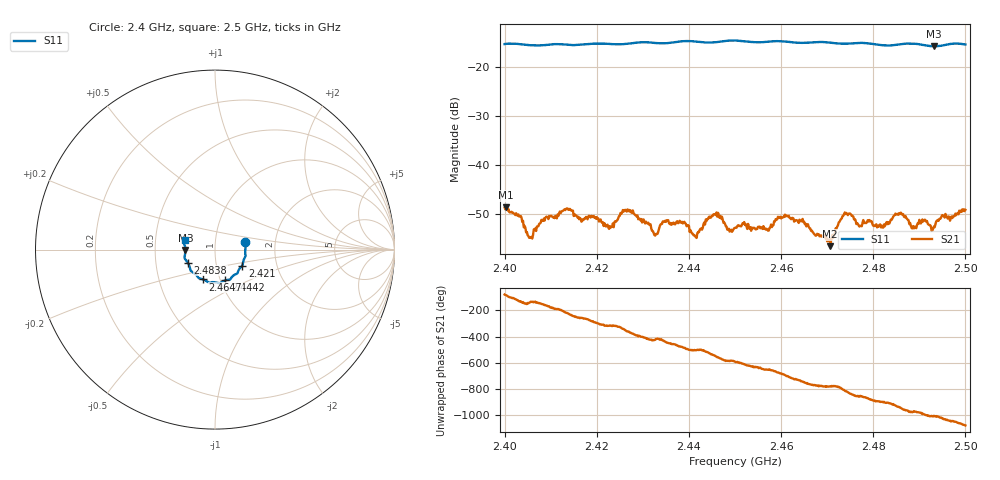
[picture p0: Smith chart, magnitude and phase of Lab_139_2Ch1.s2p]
# Hz S RI R 50
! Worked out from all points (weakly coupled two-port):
!   601 points, 2.4 GHz to 2.5 GHz, reference 50 ohm
!   highest |S21| = -48.71 dB at 2.4003 GHz (marker M1); lowest = -56.7 dB at 2.4707 GHz (marker M2)
!   lowest |S11| = -15.6 dB at 2.4932 GHz (marker M3), VSWR 1.40, Z = 35.8 - j0.128 ohm
!   |S11| at or under -10 dB: start of sweep to end of sweep
!   S12 and S22 are empty: the file has one direction only
!   S11 on the Smith chart (normalised r, x): 2.4 GHz: 1.40, +0.12; 2.421 GHz: 1.33, -0.24; 2.4442 GHz: 1.05, -0.37; 2.4647 GHz: 0.83, -0.28; 2.4838 GHz: 0.73, -0.11; 2.5 GHz: 0.71, +0.08
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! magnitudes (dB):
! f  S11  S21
! 2.4 GHz  -15.2  -48.8
! 2.4003 GHz  -15.1  -48.7
! 2.4035 GHz  -15.2  -50.5
! 2.4055 GHz  -15.4  -54.9
! 2.4132 GHz  -15.3  -49.3
! 2.4167 GHz  -15.3  -51.7
! 2.421 GHz  -15.1  -51.7
! 2.4232 GHz  -15.2  -52.8
! 2.4265 GHz  -15.1  -49.6
! 2.4333 GHz  -15.0  -53.7
! 2.4385 GHz  -14.6  -51.7
! 2.4413 GHz  -14.7  -54.7
! 2.4442 GHz  -14.9  -51.1
! 2.45 GHz  -14.5  -52.9
! 2.4647 GHz  -14.9  -51.1
! 2.4667 GHz  -14.8  -53.5
! 2.4707 GHz  -14.9  -56.7
! 2.4738 GHz  -15.1  -49.8
! 2.4833 GHz  -15.5  -51.8
! 2.4838 GHz  -15.5  -51.2
! 2.4932 GHz  -15.6  -52.7
! 2.5 GHz  -15.3  -49.2
